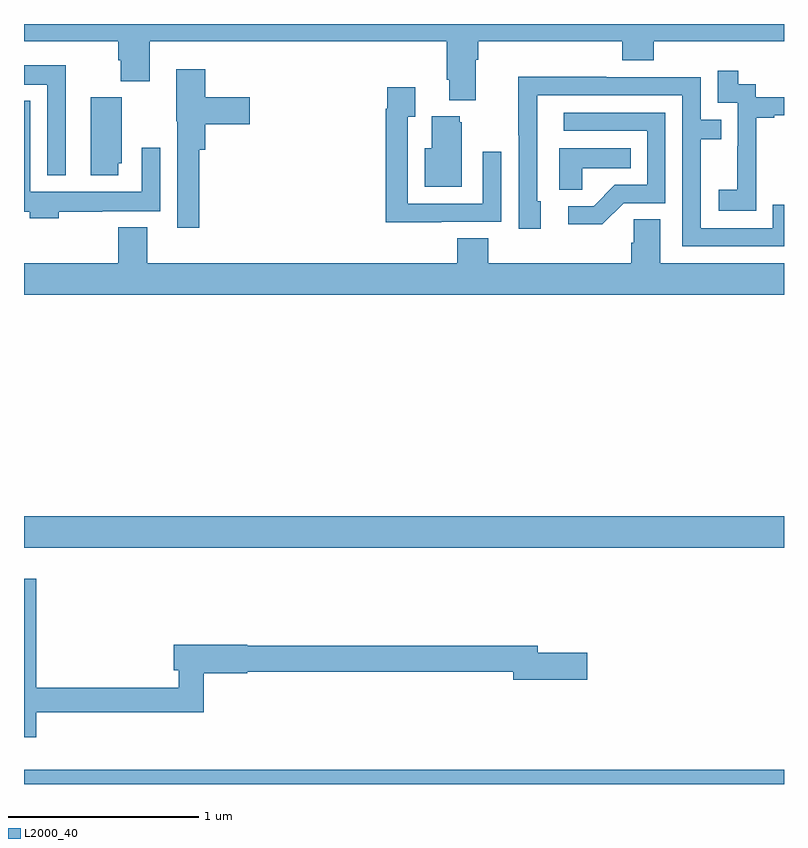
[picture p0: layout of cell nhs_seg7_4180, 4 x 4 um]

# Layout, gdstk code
import gdstk
lib = gdstk.Library(unit=1e-6, precision=1e-09)
def R(c, l, rs):  # rectangles x0, y0, x1, y1
    for r in rs: c.add(gdstk.rectangle(r[:2], r[2:], *l))
def P(c, l, *ps):  # polygons
    for p in ps: c.add(gdstk.Polygon(p, *l))
L2000_40 = (2000, 40)

nhs_seg7_4180 = lib.new_cell('nhs_seg7_4180')
R(nhs_seg7_4180, L2000_40, [(375,1038,379,1038.076), (375,1039.244,379,1039.408)])
P(nhs_seg7_4180, L2000_40, [(375,1041.908),(375.497,1041.908),(375.497,1041.809),(375.509,1041.809),(375.509,1041.7),(375.662,1041.7),(375.662,1041.908),(377.225,1041.908),(377.225,1041.706),(377.237,1041.706),(377.237,1041.599),(377.377,1041.599),(377.377,1041.812),(377.39,1041.812),(377.39,1041.908),(378.149,1041.908),(378.149,1041.809),(378.314,1041.809),(378.314,1041.908),(379,1041.908),(379,1042),(375,1042)],
  [(375.22,1041.784),(375,1041.784),(375,1041.68),(375.123,1041.68),(375.123,1041.203),(375.22,1041.203)],
  [(375.923,1041.338),(375.953,1041.338),(375.953,1041.473),(376.189,1041.473),(376.189,1041.615),(375.953,1041.615),(375.953,1041.763),(375.8,1041.763),(375.8,1041.489),(375.807,1041.489),(375.807,1040.928),(375.923,1040.928)],
  [(378.855,1041.223),(378.854,1041.223),(378.854,1041.507),(378.949,1041.507),(378.949,1041.519),(379,1041.519),(379,1041.615),(378.852,1041.615),(378.852,1041.684),(378.76,1041.684),(378.76,1041.754),(378.651,1041.754),(378.651,1041.585),(378.756,1041.585),(378.756,1041.356),(378.755,1041.356),(378.755,1041.127),(378.657,1041.127),(378.657,1041.017),(378.855,1041.017)],
  [(379,1041.048),(378.942,1041.048),(378.942,1040.925),(378.561,1040.925),(378.561,1041.394),(378.671,1041.394),(378.671,1041.495),(378.561,1041.495),(378.561,1041.72),(378.065,1041.72),(378.065,1041.722),(377.602,1041.722),(377.602,1041.415),(377.604,1041.415),(377.604,1040.922),(377.719,1040.922),(377.719,1041.066),(377.7,1041.066),(377.7,1041.624),(378.465,1041.624),(378.465,1040.829),(379,1040.829)],
  [(377.195,1040.958),(377.511,1040.958),(377.511,1041.328),(377.415,1041.328),(377.415,1041.054),(377.019,1041.054),(377.019,1041.511),(377.059,1041.511),(377.059,1041.667),(376.911,1041.667),(376.911,1041.554),(376.903,1041.554),(376.903,1040.957),(377.195,1040.957)],
  [(375.496,1041.267),(375.514,1041.267),(375.514,1041.615),(375.35,1041.615),(375.35,1041.204),(375.496,1041.204)],
  [(375.182,1041.012),(375.413,1041.012),(375.413,1041.014),(375.717,1041.014),(375.717,1041.349),(375.621,1041.349),(375.621,1041.118),(375.033,1041.118),(375.033,1041.595),(375,1041.595),(375,1041.012),(375.029,1041.012),(375.029,1040.978),(375.182,1040.978)],
  [(378.156,1041.057),(378.375,1041.057),(378.375,1041.534),(377.841,1041.534),(377.841,1041.438),(378.279,1041.438),(378.279,1041.153),(378.11,1041.153),(377.999,1041.042),(377.865,1041.042),(377.865,1040.945),(378.043,1040.945)],
  [(377.305,1041.483),(377.294,1041.483),(377.294,1041.514),(377.147,1041.514),(377.147,1041.346),(377.108,1041.346),(377.108,1041.143),(377.305,1041.143)],
  [(377.937,1041.242),(378.194,1041.242),(378.194,1041.346),(377.816,1041.346),(377.816,1041.127),(377.937,1041.127)],
  [(379,1040.74),(378.349,1040.74),(378.349,1040.972),(378.21,1040.972),(378.21,1040.849),(378.197,1040.849),(378.197,1040.74),(377.444,1040.74),(377.444,1040.873),(377.279,1040.873),(377.279,1040.74),(375.649,1040.74),(375.649,1040.929),(375.497,1040.929),(375.497,1040.74),(375,1040.74),(375,1040.576),(379,1040.576)],
  [(375.065,1038.378),(375.947,1038.378),(375.947,1038.584),(376.176,1038.584),(376.176,1038.592),(377.576,1038.592),(377.576,1038.55),(377.965,1038.55),(377.965,1038.692),(377.704,1038.692),(377.704,1038.728),(376.176,1038.728),(376.176,1038.734),(375.788,1038.734),(375.788,1038.599),(375.815,1038.599),(375.815,1038.506),(375.065,1038.506),(375.065,1039.081),(375,1039.081),(375,1038.246),(375.065,1038.246)])

lib.write_gds('nhs_seg7_4180.gds')
